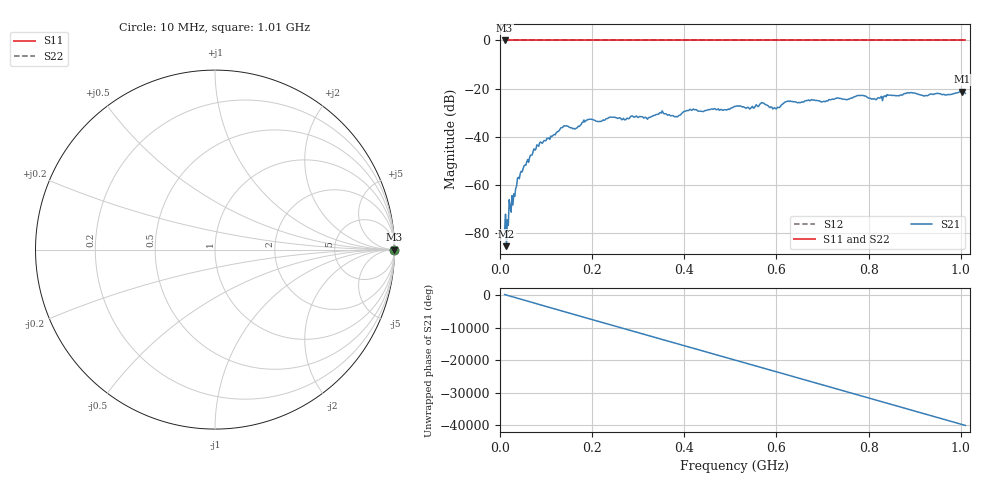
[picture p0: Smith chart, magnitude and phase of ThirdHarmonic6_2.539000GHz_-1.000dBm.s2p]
! 8/17/2025 5:07:02 AM
! C:\ANRITSUVNA\TEMP\TEMP.S2P
! CHANNEL.1
! TR.MEASUREMENT
! RAW.DATA
! RF.CORRECTION.OFF
! AVERAGING.OFF
! IF.BANDWIDTH: 5KHZ
! SWEEPTYPE:  FREQ.SWEEP(Linear)
! Reference Plane Port Info
! PORT:  PORT1  PORT2
! DISTANCE:  0  m  0  m
! TIME:  0  s  0  s
! PHASE.OFFSET:  0  deg.  0  deg.
! LOSS:  0  dB  0  dB
! REF.LOSS:  0  dB  0  dB
! REF.FREQ:  0  Hz  0  Hz
! Power Info
! POWER:  -20  dBm  -20  dBm
! EFF.POWER:  -20  dBm  -20  dBm
! SOURCE.ATTEN:  0  dB  0  dB
! TEST.ATTEN:  0  dB  0  dB
# GHZ S RI R 50.0
! FREQ.GHZ  S11RE  S11IM  S21RE  S21IM  S12RE  S12IM  S22RE  S22IM
!; PortSelection: Port_12
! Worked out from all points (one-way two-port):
!   501 points, 10 MHz to 1.01 GHz, reference 50 ohm
!   highest |S21| = -21.25 dB at 1.002 GHz (marker M1); lowest = -85.6 dB at 14 MHz (marker M2)
!   lowest |S11| = 0.0 dB at 10 MHz (marker M3)
!   |S11| at or under -10 dB: nowhere
!   |S22| runs from 0.0 to 0.0 dB; largest |S21 - S12| = 1.1
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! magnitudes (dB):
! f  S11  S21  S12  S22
! 10 MHz  0.0  -79.0  0.0  0.0
! 14 MHz  0.0  -85.6  0.0  0.0
! 24 MHz  0.0  -71.4  0.0  0.0
! 42 MHz  0.0  -57.5  0.0  0.0
! 76 MHz  0.0  -45.6  0.0  0.0
! 136 MHz  0.0  -36.2  0.0  0.0
! 162 MHz  0.0  -36.8  0.0  0.0
! 178 MHz  0.0  -34.2  0.0  0.0
! 344 MHz  0.0  -30.7  0.0  0.0
! 382 MHz  0.0  -31.6  0.0  0.0
! 410 MHz  0.0  -29.1  0.0  0.0
! 510 MHz  0.0  -27.5  0.0  0.0
! 546 MHz  0.0  -27.7  0.0  0.0
! 570 MHz  0.0  -26.0  0.0  0.0
! 596 MHz  0.0  -28.0  0.0  0.0
! 622 MHz  0.0  -25.4  0.0  0.0
! 678 MHz  0.0  -24.7  0.0  0.0
! 782 MHz  0.0  -22.9  0.0  0.0
! 814 MHz  0.0  -24.4  0.0  0.0
! 844 MHz  0.0  -22.8  0.0  0.0
! 1.002 GHz  0.0  -21.3  0.0  0.0
! 1.01 GHz  0.0  -22.0  0.0  0.0
